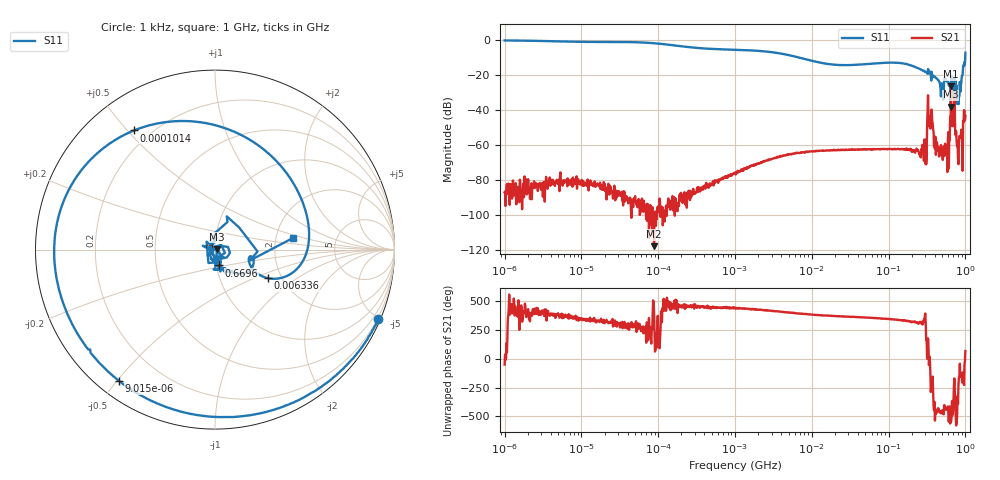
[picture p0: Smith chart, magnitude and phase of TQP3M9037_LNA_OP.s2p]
! ListType=Log
# MHZ S RI R 50
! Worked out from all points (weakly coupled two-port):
!   1000 points, 1 kHz to 1 GHz, reference 50 ohm
!   highest |S21| = -26.44 dB at 651.3 MHz (marker M1); lowest = -117.9 dB at 88.3 kHz (marker M2)
!   lowest |S11| = -38.0 dB at 642.4 MHz (marker M3), VSWR 1.03, Z = 51.2 + j0.321 ohm
!   |S11| at or under -10 dB: 7.012 MHz to 994.1 MHz (987.1 MHz wide, 197 % of centre)
!   S12 and S22 are empty: the file has one direction only
!   S11 on the Smith chart (normalised r, x): 1 kHz: 0.13, -4.88; 9.015 kHz: 0.06, -0.51; 101.4 kHz: 0.14, +0.52; 6.336 MHz: 1.70, -0.61; 669.6 MHz: 1.03, -0.18; 1 GHz: 2.50, +0.41
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0.001  0.9097 -0.3891  2.9e-05 -3.44e-05  0 0  0 0
0.0038778  0.2076 -0.9206  0.000114 3.14e-05  0 0  0 0
0.0090148  -0.5353 -0.731  0.000103 -2.94e-05  0 0  0 0
0.0100694  -0.6055 -0.6699  0.0001 -1.59e-05  0 0  0 0
0.0317323  -0.8957 0.0256  1.7e-06 -3.82e-05  0 0  0 0
0.088297  -0.549 0.615  8e-07 1e-06  0 0  0 0
0.1013925  -0.4505 0.6641  -1.72e-05 -6.7e-06  0 0  0 0
0.3065395  0.3055 0.5289  -5.3e-06 4.38e-05  0 0  0 0
1.006939  0.523 0.1161  3.78e-05 0.00016  0 0  0 0
6.335805  0.2942 -0.1588  0.000505 0.000345  0 0  0 0
10.13925  0.2258 -0.1248  0.000603 0.000265  0 0  0 0
100.6939  0.2136 -0.0829  0.00075 -0.000185  0 0  0 0
292.0556  0.061 -0.1152  0.00112 -0.000912  0 0  0 0
344.7764  0.0442 -0.1104  0.0066 -0.00102  0 0  0 0
418.4289  0.0174 -0.0813  -0.000341 -0.000854  0 0  0 0
544.1714  0.0758 -0.0302  0.000562 -0.000943  0 0  0 0
642.4034  0.0122 0.00313  -0.00643 -0.000221  0 0  0 0
651.3491  0.000931 -0.0968  -0.0475 0.00433  0 0  0 0
669.616  0.0239 -0.0881  0.00969 -0.000958  0 0  0 0
779.636  -0.0208 -0.0151  -0.000721 -0.000585  0 0  0 0
858.8829  -0.0274 0.0193  -0.00153 -0.000671  0 0  0 0
1000  0.4361 0.0654  0.00253 0.00631  0 0  0 0
